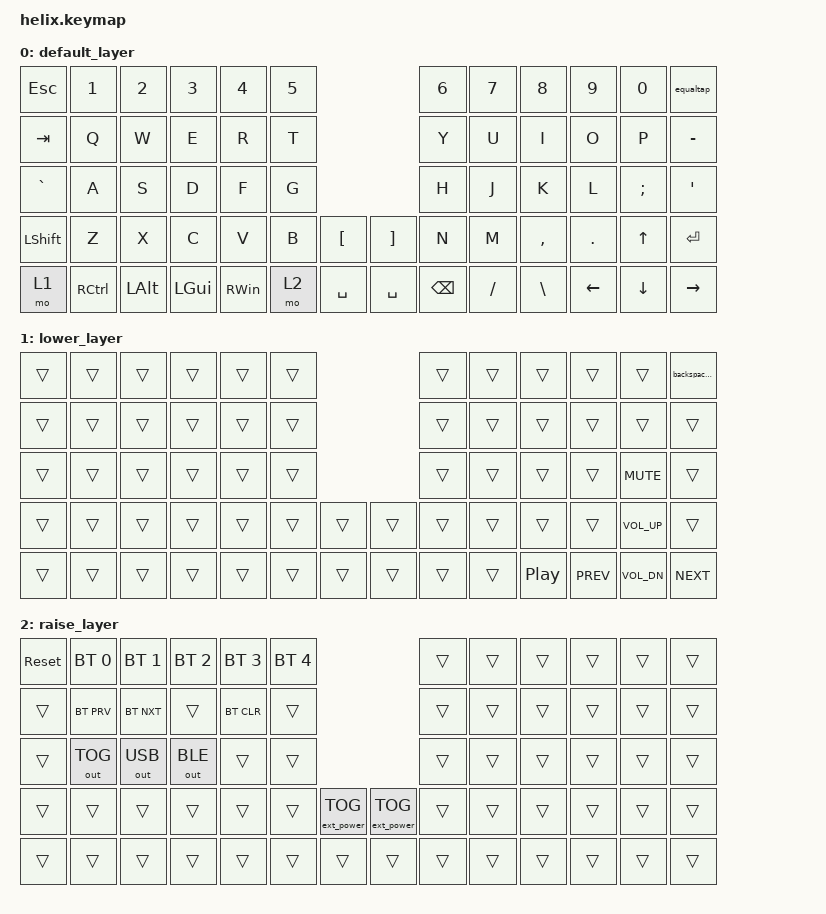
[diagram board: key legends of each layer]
#include <behaviors.dtsi>
#include <dt-bindings/zmk/bt.h>
#include <dt-bindings/zmk/keys.h>
#include <dt-bindings/zmk/outputs.h>
#include <dt-bindings/zmk/rgb.h>
#include <dt-bindings/zmk/ext_power.h>

#define DEFAULT 0
#define LOWER  1
#define RAISE  2

&sl {
    release-after-ms = <650>;
};

/ {
    behaviors {

        equaltap: equaltap {
            compatible = "zmk,behavior-tap-dance";
            #binding-cells = <0>;
            tapping-term-ms = <150>;
            bindings = <&kp EQUAL>, <&equaltapmacro>;
        };
        equaltapmacro: equaltapmacro {
            compatible = "zmk,behavior-macro";
            #binding-cells = <0>;
            bindings =  <&kp BACKSPACE &kp BACKSPACE>,
                        <&sl 1>
                        ;
        };
        backspacemacro: backspacemacro{
            compatible = "zmk,behavior-macro";
            #binding-cells = <0>;
            bindings =  <&kp BACKSPACE>,
                        <&sl 1>
                        ;
        };
        pminus: p_minus {
            compatible = "zmk,behavior-mod-morph";
            #binding-cells = <0>;
            bindings = <&kp P>, <&kp MINUS>;
            mods = <(MOD_LGUI|MOD_LCTL)>;
            keep-mods = <(MOD_LCTL)>;
        };
        equalMod: equal_mod {
            compatible = "zmk,behavior-mod-morph";
            #binding-cells = <0>;
            bindings = <&kp MINUS>, <&kp EQUAL>;
            mods = <(MOD_LGUI|MOD_LCTL)>;
        };
        lbrace: left_brace {
            compatible = "zmk,behavior-mod-morph";
            #binding-cells = <0>;
            bindings = <&kp N9>, <&kp LBKT>;
            mods = <(MOD_LGUI|MOD_LCTL)>;
        };
        rbrace: right_brace {
            compatible = "zmk,behavior-mod-morph";
            #binding-cells = <0>;
            bindings = <&kp N0>, <&kp RBKT>;
            mods = <(MOD_LGUI|MOD_LCTL)>;
        };
        dashTap: dash_tap {
            compatible = "zmk,behavior-tap-dance";
            #binding-cells = <0>;
            tapping-term-ms = <200>;
            bindings = <&kp P>, <&kp MINUS>, <&kp N3>;
        };
    };

    keymap {
        compatible = "zmk,keymap";

        default_layer {
            bindings = <
                &kp ESCAPE          &kp N1                &kp N2            &kp N3              &kp N4          &kp N5                                                      &kp N6                 &kp N7             &kp N8         &kp N9          &kp N0         &equaltap
                &kp TAB             &kp Q                 &kp W             &kp E               &kp R           &kp T                                                       &kp Y                  &kp U              &kp I          &kp O           &kp P          &kp MINUS
                &kp GRAVE           &kp A                 &kp S             &kp D               &kp F           &kp G                                                       &kp H                  &kp J              &kp K          &kp L           &kp SEMI       &kp SQT
                &kp LSHFT           &kp Z                 &kp X             &kp C               &kp V           &kp B           &kp LEFT_BRACKET         &kp RIGHT_BRACKET  &kp N                  &kp M              &kp COMMA      &kp PERIOD      &kp UP         &kp RET
                &mo 1               &kp RIGHT_CONTROL      &kp LALT          &kp LGUI            &kp RWIN        &mo 2           &kp SPACE                &kp SPACE          &kp BACKSPACE          &kp SLASH          &kp BACKSLASH  &kp LEFT        &kp DOWN       &kp RIGHT
            >;
        };

        lower_layer {
            bindings = <
                &trans              &trans                &trans            &trans            &trans            &trans                                                        &trans          &trans          &trans            &trans              &trans           &backspacemacro
                &trans              &trans                &trans            &trans            &trans            &trans                                                        &trans          &trans          &trans            &trans              &trans           &trans
                &trans              &trans                &trans            &trans            &trans            &trans                                                        &trans          &trans          &trans            &trans              &kp K_MUTE       &trans
                &trans              &trans                &trans            &trans            &trans            &trans            &trans                    &trans            &trans          &trans          &trans            &trans              &kp C_VOLUME_UP  &trans
                &trans              &trans                &trans            &trans            &trans            &trans            &trans                    &trans            &trans          &trans          &kp C_PLAY_PAUSE  &kp C_PREV          &kp C_VOL_DN     &kp C_NEXT
            >;
        };

        raise_layer {
            bindings = <
                &sys_reset          &bt BT_SEL 0          &bt BT_SEL 1      &bt BT_SEL 2      &bt BT_SEL 3  &bt BT_SEL 4                                                      &trans          &trans          &trans          &trans                  &trans          &trans
                &trans              &bt BT_PRV            &bt BT_NXT        &trans            &bt BT_CLR    &trans                                                            &trans          &trans          &trans          &trans                  &trans          &trans
                &trans              &out OUT_TOG          &out OUT_USB      &out OUT_BLE      &trans        &trans                                                            &trans          &trans          &trans          &trans                  &trans          &trans
                &trans              &trans                &trans            &trans            &trans        &trans                &ext_power EP_TOG         &ext_power EP_TOG &trans          &trans          &trans          &trans                  &trans          &trans
                &trans              &trans                &trans            &trans            &trans        &trans                &trans                    &trans            &trans          &trans          &trans          &trans                  &trans          &trans
            >;
        };
    };
};
